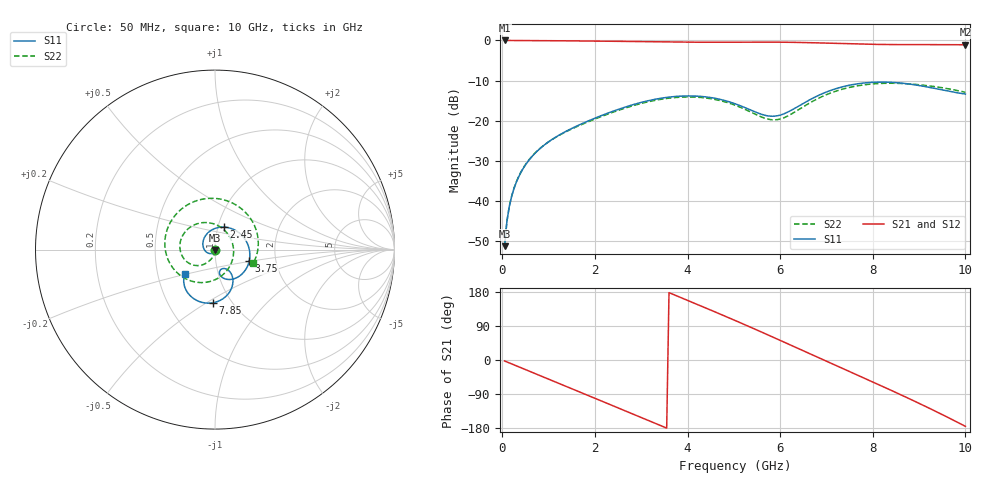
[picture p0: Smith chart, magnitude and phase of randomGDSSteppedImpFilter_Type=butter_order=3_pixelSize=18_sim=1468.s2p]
! freq	dB(S11)	phase(S11)	dB(S12)	phase(S12)
!  dB(S21)	phase(S21)	dB(S22)	phase(S22)
!S-par simulation data
#  GHz  S  DB  R 50
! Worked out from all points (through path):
!   200 points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, 50 MHz to 10 GHz, reference 50 ohm
!   highest |S21| = -0.01 dB at 50 MHz (marker M1); lowest = -1.1 dB at 10 GHz (marker M2)
!   group delay of S21, straight-line fit = 147 ps
!   lowest |S11| = -51.2 dB at 50 MHz (marker M3), VSWR 1.01, Z = 50 - j0.276 ohm
!   |S11| at or under -10 dB: start of sweep to end of sweep
!   |S22| runs from -51.0 to -10.7 dB; largest |S21 - S12| = 0
!   S11 on the Smith chart (normalised r, x): 50 MHz: 1.00, -0.01; 2.45 GHz: 1.07, +0.27; 3.75 GHz: 1.46, -0.19; 7.85 GHz: 0.82, -0.53; 10 GHz: 0.69, -0.20
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0.05  -51.18 -90.9  -0.01 -2.6  -0.01 -2.6  -51.03 -89.0
0.1  -45.00 -95.8  -0.02 -5.1  -0.02 -5.1  -44.94 -90.5
0.2  -38.89 -104.8  -0.02 -10.1  -0.02 -10.1  -38.82 -93.1
0.5  -30.98 -130.1  -0.04 -25.3  -0.04 -25.3  -30.89 -100.7
1.15  -24.08 175.4  -0.09 -58.1  -0.09 -58.1  -24.13 -113.9
1.75  -20.56 124.5  -0.14 -88.4  -0.14 -88.4  -20.75 -123.7
2.45  -17.37 67.9  -0.22 -123.8  -0.22 -123.8  -17.62 -137.3
2.95  -15.58 31.6  -0.30 -149.2  -0.30 -149.2  -15.83 -151.2
3.4  -14.44 2.2  -0.37 -172.1  -0.37 -172.1  -14.70 -166.9
3.75  -13.94 -18.5  -0.42 170.1  -0.42 170.1  -14.19 178.7
4.35  -13.99 -49.5  -0.46 139.5  -0.46 139.5  -14.27 149.4
5.05  -15.86 -75.2  -0.45 103.1  -0.45 103.1  -16.22 103.9
5.8  -18.86 -71.0  -0.43 62.8  -0.43 62.8  -19.72 20.0
6.3  -17.00 -56.6  -0.48 35.3  -0.48 35.3  -17.92 -52.1
6.7  -14.40 -58.6  -0.58 13.2  -0.58 13.2  -15.16 -95.0
7.25  -11.85 -72.8  -0.77 -17.0  -0.77 -17.0  -12.45 -141.5
7.85  -10.55 -92.5  -0.95 -49.8  -0.95 -49.8  -11.00 172.4
8.35  -10.41 -108.7  -1.03 -77.4  -1.03 -77.4  -10.66 133.3
8.75  -10.80 -120.2  -1.05 -99.9  -1.05 -99.9  -10.80 100.2
9.15  -11.52 -129.8  -1.05 -123.1  -1.05 -123.1  -11.22 64.8
9.6  -12.54 -137.3  -1.06 -150.1  -1.06 -150.1  -11.97 21.9
10  -13.34 -140.9  -1.09 -175.1  -1.09 -175.1  -12.91 -19.4
